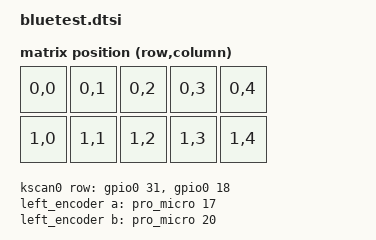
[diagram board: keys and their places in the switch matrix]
#include "klor_common.dtsi"

/ {
	chosen {
		zmk,matrix_transform = &default_transform;
	};

	default_transform: keymap_transform_0 {
		compatible = "zmk,matrix-transform";
		columns = <5>;
		rows = <2>;
		map = <
        RC(0,0) RC(0,1) RC(0,2) RC(0,3) RC(0,4)
        RC(1,0) RC(1,1) RC(1,2) RC(1,3) RC(1,4)
		>;
	};
};

&kscan0 {
	row-gpios
	= <&gpio0 31 (GPIO_ACTIVE_HIGH | GPIO_PULL_DOWN)>
	, <&gpio0 18 (GPIO_ACTIVE_HIGH | GPIO_PULL_DOWN)>
	;
};

&left_encoder {
	a-gpios = <&pro_micro 17 (GPIO_ACTIVE_HIGH | GPIO_PULL_UP)>;
	b-gpios = <&pro_micro 20 (GPIO_ACTIVE_HIGH | GPIO_PULL_UP)>;
};
